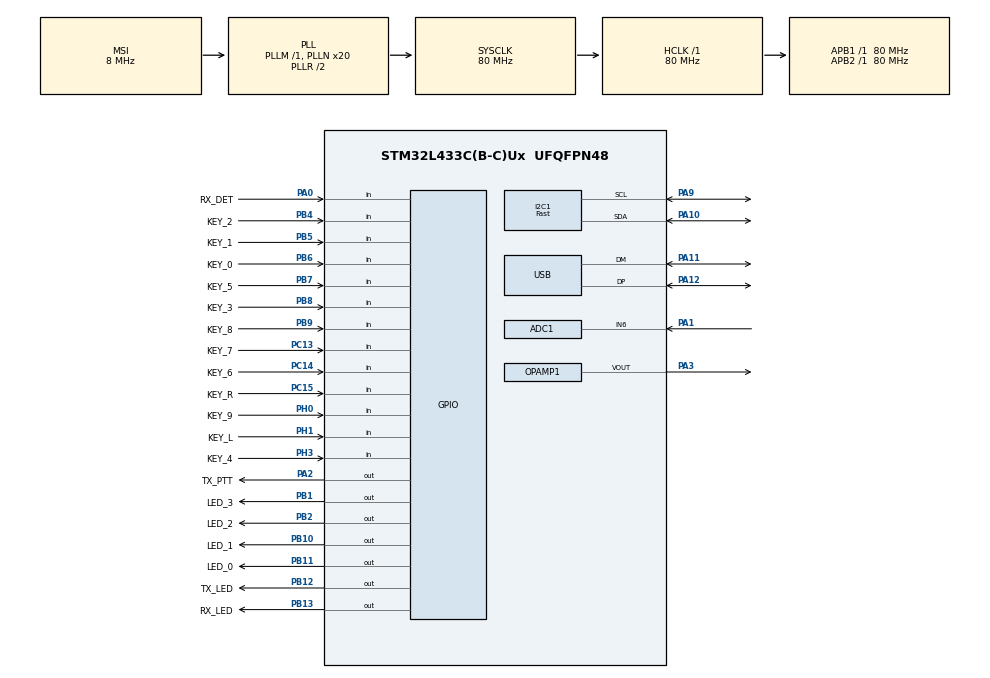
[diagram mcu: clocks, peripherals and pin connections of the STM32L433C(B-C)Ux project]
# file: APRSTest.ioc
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ADC1.Channel-0\#ChannelRegularConversion=ADC_CHANNEL_6
ADC1.ContinuousConvMode=DISABLE
ADC1.DMAContinuousRequests=ENABLE
ADC1.EOCSelection=ADC_EOC_SINGLE_CONV
ADC1.EnableAnalogWatchDog1=false
ADC1.ExternalTrigConv=ADC_EXTERNALTRIG_T2_TRGO
ADC1.NbrOfConversion=1
ADC1.NbrOfConversionFlag=1
ADC1.OffsetNumber-0\#ChannelRegularConversion=ADC_OFFSET_NONE
ADC1.Overrun=ADC_OVR_DATA_OVERWRITTEN
ADC1.Rank-0\#ChannelRegularConversion=1
ADC1.Resolution=ADC_RESOLUTION_8B
ADC1.SamplingTime-0\#ChannelRegularConversion=ADC_SAMPLETIME_2CYCLES_5
ADC1.master=1
DAC1.DAC_Trigger-DAC_OUT1_Int=DAC_TRIGGER_T6_TRGO
Dma.ADC1.1.Direction=DMA_PERIPH_TO_MEMORY
Dma.ADC1.1.Instance=DMA1_Channel1
Dma.ADC1.1.MemDataAlignment=DMA_MDATAALIGN_BYTE
Dma.ADC1.1.MemInc=DMA_MINC_ENABLE
Dma.ADC1.1.Mode=DMA_CIRCULAR
Dma.ADC1.1.PeriphDataAlignment=DMA_PDATAALIGN_BYTE
Dma.ADC1.1.PeriphInc=DMA_PINC_DISABLE
Dma.ADC1.1.Priority=DMA_PRIORITY_HIGH
Dma.DAC_CH1.0.Direction=DMA_MEMORY_TO_PERIPH
Dma.DAC_CH1.0.Instance=DMA1_Channel3
Dma.DAC_CH1.0.MemDataAlignment=DMA_MDATAALIGN_BYTE
Dma.DAC_CH1.0.MemInc=DMA_MINC_ENABLE
Dma.DAC_CH1.0.Mode=DMA_CIRCULAR
Dma.DAC_CH1.0.PeriphDataAlignment=DMA_PDATAALIGN_BYTE
Dma.DAC_CH1.0.PeriphInc=DMA_PINC_DISABLE
Dma.DAC_CH1.0.Priority=DMA_PRIORITY_VERY_HIGH
Dma.I2C1_TX.2.Direction=DMA_MEMORY_TO_PERIPH
Dma.I2C1_TX.2.Instance=DMA1_Channel6
Dma.I2C1_TX.2.MemDataAlignment=DMA_MDATAALIGN_BYTE
Dma.I2C1_TX.2.MemInc=DMA_MINC_ENABLE
Dma.I2C1_TX.2.Mode=DMA_NORMAL
Dma.I2C1_TX.2.PeriphDataAlignment=DMA_PDATAALIGN_BYTE
Dma.I2C1_TX.2.PeriphInc=DMA_PINC_DISABLE
Dma.I2C1_TX.2.Priority=DMA_PRIORITY_HIGH
Dma.Request0=DAC_CH1
Dma.Request1=ADC1
Dma.Request2=I2C1_TX
I2C1.I2C_Speed_Mode=I2C_Fast
I2C1.Timing=0x00702991
Mcu.Family=STM32L4
Mcu.Name=STM32L433C(B-C)Ux
Mcu.Package=UFQFPN48
NVIC.DMA1_Channel1_IRQn=true\:0\:0\:false\:false\:true\:false\:true
NVIC.DMA1_Channel3_IRQn=true\:0\:0\:false\:false\:true\:false\:true
NVIC.DMA1_Channel6_IRQn=true\:0\:0\:false\:false\:true\:false\:true
NVIC.I2C1_EV_IRQn=true\:0\:0\:false\:false\:true\:true\:true
NVIC.PriorityGroup=NVIC_PRIORITYGROUP_4
NVIC.TIM7_IRQn=true\:1\:0\:true\:false\:true\:true\:true
NVIC.USB_IRQn=true\:0\:0\:false\:false\:true\:false\:true
OPAMP1.PowerSupplyRange=OPAMP_POWERSUPPLY_HIGH
PA0.GPIO_Label=RX_DET
PA0.GPIO_PuPd=GPIO_PULLUP
PA0.Signal=GPIO_Input
PA1.Signal=ADCx_IN6
PA10.Mode=I2C
PA10.Signal=I2C1_SDA
PA11.Mode=Device
PA11.Signal=USB_DM
PA12.Mode=Device
PA12.Signal=USB_DP
PA13\ (JTMS-SWDIO).Mode=Trace_Asynchronous_SW
PA13\ (JTMS-SWDIO).Signal=SYS_JTMS-SWDIO
PA14\ (JTCK-SWCLK).Mode=Trace_Asynchronous_SW
PA14\ (JTCK-SWCLK).Signal=SYS_JTCK-SWCLK
PA2.GPIO_Label=TX_PTT
PA2.GPIO_Speed=GPIO_SPEED_FREQ_VERY_HIGH
PA2.Signal=GPIO_Output
PA3.Mode=Follower-DAC_OUT1-INP
PA3.Signal=OPAMP1_VOUT
PA9.Mode=I2C
PA9.Signal=I2C1_SCL
PB1.GPIO_Label=LED_3
PB1.GPIO_Speed=GPIO_SPEED_FREQ_VERY_HIGH
PB1.Signal=GPIO_Output
PB10.GPIO_Label=LED_1
PB10.GPIO_Speed=GPIO_SPEED_FREQ_VERY_HIGH
PB10.Signal=GPIO_Output
PB11.GPIO_Label=LED_0
PB11.GPIO_Speed=GPIO_SPEED_FREQ_VERY_HIGH
PB11.Signal=GPIO_Output
PB12.GPIO_Label=TX_LED
PB12.GPIO_Speed=GPIO_SPEED_FREQ_VERY_HIGH
PB12.Signal=GPIO_Output
PB13.GPIO_Label=RX_LED
PB13.GPIO_Speed=GPIO_SPEED_FREQ_VERY_HIGH
PB13.Signal=GPIO_Output
PB2.GPIO_Label=LED_2
PB2.GPIO_Speed=GPIO_SPEED_FREQ_VERY_HIGH
PB2.Signal=GPIO_Output
PB3\ (JTDO-TRACESWO).Mode=Trace_Asynchronous_SW
PB3\ (JTDO-TRACESWO).Signal=SYS_JTDO-SWO
PB4\ (NJTRST).GPIO_Label=KEY_2
PB4\ (NJTRST).GPIO_PuPd=GPIO_PULLDOWN
PB4\ (NJTRST).Signal=GPIO_Input
PB5.GPIO_Label=KEY_1
PB5.GPIO_PuPd=GPIO_PULLDOWN
PB5.Signal=GPIO_Input
PB6.GPIO_Label=KEY_0
PB6.GPIO_PuPd=GPIO_PULLDOWN
PB6.Signal=GPIO_Input
PB7.GPIO_Label=KEY_5
PB7.GPIO_PuPd=GPIO_PULLDOWN
PB7.Signal=GPIO_Input
PB8.GPIO_Label=KEY_3
PB8.GPIO_PuPd=GPIO_PULLDOWN
PB8.Signal=GPIO_Input
PB9.GPIO_Label=KEY_8
PB9.GPIO_PuPd=GPIO_PULLDOWN
PB9.Signal=GPIO_Input
PC13.GPIO_Label=KEY_7
PC13.GPIO_PuPd=GPIO_PULLDOWN
PC13.Signal=GPIO_Input
PC14-OSC32_IN\ (PC14).GPIO_Label=KEY_6
PC14-OSC32_IN\ (PC14).GPIO_PuPd=GPIO_PULLDOWN
PC14-OSC32_IN\ (PC14).Signal=GPIO_Input
PC15-OSC32_OUT\ (PC15).GPIO_Label=KEY_R
PC15-OSC32_OUT\ (PC15).GPIO_PuPd=GPIO_PULLDOWN
PC15-OSC32_OUT\ (PC15).Signal=GPIO_Input
PH0-OSC_IN\ (PH0).GPIO_Label=KEY_9
PH0-OSC_IN\ (PH0).GPIO_PuPd=GPIO_PULLDOWN
PH0-OSC_IN\ (PH0).Signal=GPIO_Input
PH1-OSC_OUT\ (PH1).GPIO_Label=KEY_L
PH1-OSC_OUT\ (PH1).GPIO_PuPd=GPIO_PULLDOWN
PH1-OSC_OUT\ (PH1).Signal=GPIO_Input
PH3-BOOT0.GPIO_Label=KEY_4
PH3-BOOT0.GPIO_PuPd=GPIO_PULLDOWN
PH3-BOOT0.Signal=GPIO_Input
ProjectManager.HeapSize=0x200
ProjectManager.StackSize=0x400
ProjectManager.TargetToolchain=STM32CubeIDE
RCC.ADCCLockSelection=RCC_ADCCLKSOURCE_SYSCLK
RCC.ADCFreq_Value=80000000
RCC.AHBFreq_Value=80000000
RCC.APB1Freq_Value=80000000
RCC.APB1TimFreq_Value=80000000
RCC.APB2Freq_Value=80000000
RCC.APB2TimFreq_Value=80000000
RCC.CK48CLockSelection=RCC_USBCLKSOURCE_HSI48
RCC.CortexFreq_Value=80000000
RCC.HCLKFreq_Value=80000000
RCC.HSE_VALUE=8000000
RCC.HSI48_VALUE=48000000
RCC.HSI_VALUE=16000000
RCC.LSE_VALUE=32768
RCC.MSIClockRange=RCC_MSIRANGE_7
RCC.MSI_VALUE=8000000
RCC.PLLN=20
RCC.SYSCLKFreq_VALUE=80000000
RCC.SYSCLKSource=RCC_SYSCLKSOURCE_PLLCLK
RCC.USBFreq_Value=48000000
RCC.VCOOutputFreq_Value=160000000
SH.ADCx_IN6.0=ADC1_IN6,IN6-Single-Ended
TIM2.Period=8332
TIM2.TIM_MasterOutputTrigger=TIM_TRGO_UPDATE
TIM6.Period=2082
TIM6.Prescaler=0
TIM6.TIM_MasterOutputTrigger=TIM_TRGO_UPDATE
TIM7.Period=99
TIM7.Prescaler=33332
USB_DEVICE.CLASS_NAME_FS=CDC
USB_DEVICE.VirtualMode=Cdc
USB_DEVICE.VirtualModeFS=Cdc_FS
VP_DAC1_VS_DACI1.Mode=DAC_OUT1_Int
VP_RNG_VS_RNG.Mode=RNG_Activate
VP_TIM2_VS_ClockSourceINT.Mode=Internal
VP_TIM6_VS_ClockSourceINT.Mode=Enable_Timer
VP_TIM7_VS_ClockSourceINT.Mode=Enable_Timer
VP_USB_DEVICE_VS_USB_DEVICE_CDC_FS.Mode=CDC_FS
board=custom

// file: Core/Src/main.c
/* USER CODE BEGIN Header */
/**
  ******************************************************************************
  * @file           : main.c
  * @brief          : Main program body
  ******************************************************************************
  * @attention
  *
  * <h2><center>&copy; Copyright (c) 2020 STMicroelectronics.
  * All rights reserved.</center></h2>
  *
  * This software component is licensed by ST under BSD 3-Clause license,
  * the "License"; You may not use this file except in compliance with the
  * License. You may obtain a copy of the License at:
  *                        opensource.org/licenses/BSD-3-Clause
  *
  ******************************************************************************
  */
/* USER CODE END Header */
#include "main.h"
#include "usb_device.h"

/* USER CODE BEGIN Includes */

#include "stdio.h"
#include "usbd_cdc_if.h"

#include "BitFIFO.h"
#include "AFSK.h"
#include "APRS.h"
#include "SSD1306.h"
#include "APRSGUI.h"
#include "Keyboard.h"

/* USER CODE END Includes */

ADC_HandleTypeDef hadc1;
DMA_HandleTypeDef hdma_adc1;

DAC_HandleTypeDef hdac1;
DMA_HandleTypeDef hdma_dac_ch1;

I2C_HandleTypeDef hi2c1;
DMA_HandleTypeDef hdma_i2c1_tx;

OPAMP_HandleTypeDef hopamp1;

RNG_HandleTypeDef hrng;

TIM_HandleTypeDef htim2;
TIM_HandleTypeDef htim6;
TIM_HandleTypeDef htim7;

void SystemClock_Config(void);
static void MX_GPIO_Init(void);
static void MX_DMA_Init(void);
static void MX_DAC1_Init(void);
static void MX_TIM6_Init(void);
static void MX_ADC1_Init(void);
static void MX_OPAMP1_Init(void);
static void MX_RNG_Init(void);
static void MX_TIM2_Init(void);
static void MX_TIM7_Init(void);
static void MX_I2C1_Init(void);

int main(void)
{

  /* MCU Configuration--------------------------------------------------------*/

  /* Reset of all peripherals, Initializes the Flash interface and the Systick. */
  HAL_Init();

  /* Configure the system clock */
  SystemClock_Config();

  /* Initialize all configured peripherals */
  MX_GPIO_Init();
  MX_DMA_Init();
  MX_DAC1_Init();
  MX_TIM6_Init();
  MX_ADC1_Init();
  MX_OPAMP1_Init();
  MX_RNG_Init();
  MX_TIM2_Init();
  MX_TIM7_Init();
  MX_I2C1_Init();
  MX_USB_DEVICE_Init();
  /* USER CODE BEGIN 2 */

  HAL_OPAMP_Start(&hopamp1);
  AFSK_init();
  APRS_init();

  SSD1306_init();
  APRSGUI_init(&APRS_DEFAULT_PACKET);
  HAL_TIM_Base_Start_IT(&htim7); // update display at ~24FPS

  /* USER CODE END 2 */

  /* Infinite loop */
  while (1)
  {

    /* USER CODE BEGIN 3 */
	if (APRS_decoded_packet_valid) { // print over usb
		APRS_print(&APRS_decoded_packet);
		APRS_decoded_packet_valid = 0;
	}

	HAL_GPIO_WritePin(TX_LED_GPIO_Port, TX_LED_Pin, AFSK_sending);
	HAL_GPIO_WritePin(RX_LED_GPIO_Port, RX_LED_Pin, !HAL_GPIO_ReadPin(RX_DET_GPIO_Port, RX_DET_Pin));

	HAL_GPIO_WritePin(LED_0_GPIO_Port, LED_0_Pin, Keyboard_page == 0);
	HAL_GPIO_WritePin(LED_1_GPIO_Port, LED_1_Pin, Keyboard_page == 1);
	HAL_GPIO_WritePin(LED_2_GPIO_Port, LED_2_Pin, Keyboard_page == 2);
	HAL_GPIO_WritePin(LED_3_GPIO_Port, LED_3_Pin, Keyboard_page == 3);

	Keyboard_update();

	HAL_Delay(20);
  }
  /* USER CODE END 3 */
}

void SystemClock_Config(void)
{
  RCC_OscInitTypeDef RCC_OscInitStruct = {0};
  RCC_ClkInitTypeDef RCC_ClkInitStruct = {0};
  RCC_PeriphCLKInitTypeDef PeriphClkInit = {0};

  /** Initializes the RCC Oscillators according to the specified parameters
  * in the RCC_OscInitTypeDef structure.
  */
  RCC_OscInitStruct.OscillatorType = RCC_OSCILLATORTYPE_HSI48|RCC_OSCILLATORTYPE_MSI;
  RCC_OscInitStruct.HSI48State = RCC_HSI48_ON;
  RCC_OscInitStruct.MSIState = RCC_MSI_ON;
  RCC_OscInitStruct.MSICalibrationValue = 0;
  RCC_OscInitStruct.MSIClockRange = RCC_MSIRANGE_7;
  RCC_OscInitStruct.PLL.PLLState = RCC_PLL_ON;
  RCC_OscInitStruct.PLL.PLLSource = RCC_PLLSOURCE_MSI;
  RCC_OscInitStruct.PLL.PLLM = 1;
  RCC_OscInitStruct.PLL.PLLN = 20;
  RCC_OscInitStruct.PLL.PLLP = RCC_PLLP_DIV7;
  RCC_OscInitStruct.PLL.PLLQ = RCC_PLLQ_DIV2;
  RCC_OscInitStruct.PLL.PLLR = RCC_PLLR_DIV2;
  if (HAL_RCC_OscConfig(&RCC_OscInitStruct) != HAL_OK)
  {
    Error_Handler();
  }
  /** Initializes the CPU, AHB and APB buses clocks
  */
  RCC_ClkInitStruct.ClockType = RCC_CLOCKTYPE_HCLK|RCC_CLOCKTYPE_SYSCLK
                              |RCC_CLOCKTYPE_PCLK1|RCC_CLOCKTYPE_PCLK2;
  RCC_ClkInitStruct.SYSCLKSource = RCC_SYSCLKSOURCE_PLLCLK;
  RCC_ClkInitStruct.AHBCLKDivider = RCC_SYSCLK_DIV1;
  RCC_ClkInitStruct.APB1CLKDivider = RCC_HCLK_DIV1;
  RCC_ClkInitStruct.APB2CLKDivider = RCC_HCLK_DIV1;

  if (HAL_RCC_ClockConfig(&RCC_ClkInitStruct, FLASH_LATENCY_4) != HAL_OK)
  {
    Error_Handler();
  }
  PeriphClkInit.PeriphClockSelection = RCC_PERIPHCLK_I2C1|RCC_PERIPHCLK_USB
                              |RCC_PERIPHCLK_RNG|RCC_PERIPHCLK_ADC;
  PeriphClkInit.I2c1ClockSelection = RCC_I2C1CLKSOURCE_PCLK1;
  PeriphClkInit.AdcClockSelection = RCC_ADCCLKSOURCE_SYSCLK;
  PeriphClkInit.UsbClockSelection = RCC_USBCLKSOURCE_HSI48;
  PeriphClkInit.RngClockSelection = RCC_RNGCLKSOURCE_HSI48;
  if (HAL_RCCEx_PeriphCLKConfig(&PeriphClkInit) != HAL_OK)
  {
    Error_Handler();
  }
  /** Configure the main internal regulator output voltage
  */
  if (HAL_PWREx_ControlVoltageScaling(PWR_REGULATOR_VOLTAGE_SCALE1) != HAL_OK)
  {
    Error_Handler();
  }
}

static void MX_ADC1_Init(void)
{

  ADC_ChannelConfTypeDef sConfig = {0};

  /** Common config
  */
  hadc1.Instance = ADC1;
  hadc1.Init.ClockPrescaler = ADC_CLOCK_ASYNC_DIV1;
  hadc1.Init.Resolution = ADC_RESOLUTION_8B;
  hadc1.Init.DataAlign = ADC_DATAALIGN_RIGHT;
  hadc1.Init.ScanConvMode = ADC_SCAN_DISABLE;
  hadc1.Init.EOCSelection = ADC_EOC_SINGLE_CONV;
  hadc1.Init.LowPowerAutoWait = DISABLE;
  hadc1.Init.ContinuousConvMode = DISABLE;
  hadc1.Init.NbrOfConversion = 1;
  hadc1.Init.DiscontinuousConvMode = DISABLE;
  hadc1.Init.ExternalTrigConv = ADC_EXTERNALTRIG_T2_TRGO;
  hadc1.Init.ExternalTrigConvEdge = ADC_EXTERNALTRIGCONVEDGE_RISING;
  hadc1.Init.DMAContinuousRequests = ENABLE;
  hadc1.Init.Overrun = ADC_OVR_DATA_OVERWRITTEN;
  hadc1.Init.OversamplingMode = DISABLE;
  if (HAL_ADC_Init(&hadc1) != HAL_OK)
  {
    Error_Handler();
  }
  /** Configure Regular Channel
  */
  sConfig.Channel = ADC_CHANNEL_6;
  sConfig.Rank = ADC_REGULAR_RANK_1;
  sConfig.SamplingTime = ADC_SAMPLETIME_2CYCLES_5;
  sConfig.SingleDiff = ADC_SINGLE_ENDED;
  sConfig.OffsetNumber = ADC_OFFSET_NONE;
  sConfig.Offset = 0;
  if (HAL_ADC_ConfigChannel(&hadc1, &sConfig) != HAL_OK)
  {
    Error_Handler();
  }

}

static void MX_DAC1_Init(void)
{

  DAC_ChannelConfTypeDef sConfig = {0};

  /** DAC Initialization
  */
  hdac1.Instance = DAC1;
  if (HAL_DAC_Init(&hdac1) != HAL_OK)
  {
    Error_Handler();
  }
  /** DAC channel OUT1 config
  */
  sConfig.DAC_SampleAndHold = DAC_SAMPLEANDHOLD_DISABLE;
  sConfig.DAC_Trigger = DAC_TRIGGER_T6_TRGO;
  sConfig.DAC_OutputBuffer = DAC_OUTPUTBUFFER_DISABLE;
  sConfig.DAC_ConnectOnChipPeripheral = DAC_CHIPCONNECT_ENABLE;
  sConfig.DAC_UserTrimming = DAC_TRIMMING_FACTORY;
  if (HAL_DAC_ConfigChannel(&hdac1, &sConfig, DAC_CHANNEL_1) != HAL_OK)
  {
    Error_Handler();
  }

}

static void MX_I2C1_Init(void)
{

  hi2c1.Instance = I2C1;
  hi2c1.Init.Timing = 0x00702991;
  hi2c1.Init.OwnAddress1 = 0;
  hi2c1.Init.AddressingMode = I2C_ADDRESSINGMODE_7BIT;
  hi2c1.Init.DualAddressMode = I2C_DUALADDRESS_DISABLE;
  hi2c1.Init.OwnAddress2 = 0;
  hi2c1.Init.OwnAddress2Masks = I2C_OA2_NOMASK;
  hi2c1.Init.GeneralCallMode = I2C_GENERALCALL_DISABLE;
  hi2c1.Init.NoStretchMode = I2C_NOSTRETCH_DISABLE;
  if (HAL_I2C_Init(&hi2c1) != HAL_OK)
  {
    Error_Handler();
  }
  /** Configure Analogue filter
  */
  if (HAL_I2CEx_ConfigAnalogFilter(&hi2c1, I2C_ANALOGFILTER_ENABLE) != HAL_OK)
  {
    Error_Handler();
  }
  /** Configure Digital filter
  */
  if (HAL_I2CEx_ConfigDigitalFilter(&hi2c1, 0) != HAL_OK)
  {
    Error_Handler();
  }

}

static void MX_OPAMP1_Init(void)
{

  hopamp1.Instance = OPAMP1;
  hopamp1.Init.PowerSupplyRange = OPAMP_POWERSUPPLY_HIGH;
  hopamp1.Init.Mode = OPAMP_FOLLOWER_MODE;
  hopamp1.Init.NonInvertingInput = OPAMP_NONINVERTINGINPUT_DAC_CH;
  hopamp1.Init.PowerMode = OPAMP_POWERMODE_NORMAL;
  hopamp1.Init.UserTrimming = OPAMP_TRIMMING_FACTORY;
  if (HAL_OPAMP_Init(&hopamp1) != HAL_OK)
  {
    Error_Handler();
  }

}

static void MX_RNG_Init(void)
{

  hrng.Instance = RNG;
  if (HAL_RNG_Init(&hrng) != HAL_OK)
  {
    Error_Handler();
  }

}

static void MX_TIM2_Init(void)
{

  TIM_ClockConfigTypeDef sClockSourceConfig = {0};
  TIM_MasterConfigTypeDef sMasterConfig = {0};

  htim2.Instance = TIM2;
  htim2.Init.Prescaler = 0;
  htim2.Init.CounterMode = TIM_COUNTERMODE_UP;
  htim2.Init.Period = 8332;
  htim2.Init.ClockDivision = TIM_CLOCKDIVISION_DIV1;
  htim2.Init.AutoReloadPreload = TIM_AUTORELOAD_PRELOAD_DISABLE;
  if (HAL_TIM_Base_Init(&htim2) != HAL_OK)
  {
    Error_Handler();
  }
  sClockSourceConfig.ClockSource = TIM_CLOCKSOURCE_INTERNAL;
  if (HAL_TIM_ConfigClockSource(&htim2, &sClockSourceConfig) != HAL_OK)
  {
    Error_Handler();
  }
  sMasterConfig.MasterOutputTrigger = TIM_TRGO_UPDATE;
  sMasterConfig.MasterSlaveMode = TIM_MASTERSLAVEMODE_DISABLE;
  if (HAL_TIMEx_MasterConfigSynchronization(&htim2, &sMasterConfig) != HAL_OK)
  {
    Error_Handler();
  }

}

static void MX_TIM6_Init(void)
{

  TIM_MasterConfigTypeDef sMasterConfig = {0};

  htim6.Instance = TIM6;
  htim6.Init.Prescaler = 0;
  htim6.Init.CounterMode = TIM_COUNTERMODE_UP;
  htim6.Init.Period = 2082;
  htim6.Init.AutoReloadPreload = TIM_AUTORELOAD_PRELOAD_DISABLE;
  if (HAL_TIM_Base_Init(&htim6) != HAL_OK)
  {
    Error_Handler();
  }
  sMasterConfig.MasterOutputTrigger = TIM_TRGO_UPDATE;
  sMasterConfig.MasterSlaveMode = TIM_MASTERSLAVEMODE_DISABLE;
  if (HAL_TIMEx_MasterConfigSynchronization(&htim6, &sMasterConfig) != HAL_OK)
  {
    Error_Handler();
  }

}

static void MX_TIM7_Init(void)
{

  TIM_MasterConfigTypeDef sMasterConfig = {0};

  htim7.Instance = TIM7;
  htim7.Init.Prescaler = 33332;
  htim7.Init.CounterMode = TIM_COUNTERMODE_UP;
  htim7.Init.Period = 99;
  htim7.Init.AutoReloadPreload = TIM_AUTORELOAD_PRELOAD_DISABLE;
  if (HAL_TIM_Base_Init(&htim7) != HAL_OK)
  {
    Error_Handler();
  }
  sMasterConfig.MasterOutputTrigger = TIM_TRGO_RESET;
  sMasterConfig.MasterSlaveMode = TIM_MASTERSLAVEMODE_DISABLE;
  if (HAL_TIMEx_MasterConfigSynchronization(&htim7, &sMasterConfig) != HAL_OK)
  {
    Error_Handler();
  }

}

static void MX_DMA_Init(void)
{

  /* DMA controller clock enable */
  __HAL_RCC_DMA1_CLK_ENABLE();

  /* DMA interrupt init */
  /* DMA1_Channel1_IRQn interrupt configuration */
  HAL_NVIC_SetPriority(DMA1_Channel1_IRQn, 0, 0);
  HAL_NVIC_EnableIRQ(DMA1_Channel1_IRQn);
  /* DMA1_Channel3_IRQn interrupt configuration */
  HAL_NVIC_SetPriority(DMA1_Channel3_IRQn, 0, 0);
  HAL_NVIC_EnableIRQ(DMA1_Channel3_IRQn);
  /* DMA1_Channel6_IRQn interrupt configuration */
  HAL_NVIC_SetPriority(DMA1_Channel6_IRQn, 0, 0);
  HAL_NVIC_EnableIRQ(DMA1_Channel6_IRQn);

}

static void MX_GPIO_Init(void)
{
  GPIO_InitTypeDef GPIO_InitStruct = {0};

  /* GPIO Ports Clock Enable */
  __HAL_RCC_GPIOC_CLK_ENABLE();
  __HAL_RCC_GPIOH_CLK_ENABLE();
  __HAL_RCC_GPIOA_CLK_ENABLE();
  __HAL_RCC_GPIOB_CLK_ENABLE();

  /*Configure GPIO pin Output Level */
  HAL_GPIO_WritePin(TX_PTT_GPIO_Port, TX_PTT_Pin, GPIO_PIN_RESET);

  /*Configure GPIO pin Output Level */
  HAL_GPIO_WritePin(GPIOB, LED_3_Pin|LED_2_Pin|LED_1_Pin|LED_0_Pin
                          |TX_LED_Pin|RX_LED_Pin, GPIO_PIN_RESET);

  /*Configure GPIO pins : KEY_7_Pin KEY_6_Pin KEY_R_Pin */
  GPIO_InitStruct.Pin = KEY_7_Pin|KEY_6_Pin|KEY_R_Pin;
  GPIO_InitStruct.Mode = GPIO_MODE_INPUT;
  GPIO_InitStruct.Pull = GPIO_PULLDOWN;
  HAL_GPIO_Init(GPIOC, &GPIO_InitStruct);

  /*Configure GPIO pins : KEY_9_Pin KEY_L_Pin KEY_4_Pin */
  GPIO_InitStruct.Pin = KEY_9_Pin|KEY_L_Pin|KEY_4_Pin;
  GPIO_InitStruct.Mode = GPIO_MODE_INPUT;
  GPIO_InitStruct.Pull = GPIO_PULLDOWN;
  HAL_GPIO_Init(GPIOH, &GPIO_InitStruct);

  /*Configure GPIO pin : RX_DET_Pin */
  GPIO_InitStruct.Pin = RX_DET_Pin;
  GPIO_InitStruct.Mode = GPIO_MODE_INPUT;
  GPIO_InitStruct.Pull = GPIO_PULLUP;
  HAL_GPIO_Init(RX_DET_GPIO_Port, &GPIO_InitStruct);

  /*Configure GPIO pin : TX_PTT_Pin */
  GPIO_InitStruct.Pin = TX_PTT_Pin;
  GPIO_InitStruct.Mode = GPIO_MODE_OUTPUT_PP;
  GPIO_InitStruct.Pull = GPIO_NOPULL;
  GPIO_InitStruct.Speed = GPIO_SPEED_FREQ_VERY_HIGH;
  HAL_GPIO_Init(TX_PTT_GPIO_Port, &GPIO_InitStruct);

  /*Configure GPIO pins : LED_3_Pin LED_2_Pin LED_1_Pin LED_0_Pin
                           TX_LED_Pin RX_LED_Pin */
  GPIO_InitStruct.Pin = LED_3_Pin|LED_2_Pin|LED_1_Pin|LED_0_Pin
                          |TX_LED_Pin|RX_LED_Pin;
  GPIO_InitStruct.Mode = GPIO_MODE_OUTPUT_PP;
  GPIO_InitStruct.Pull = GPIO_NOPULL;
  GPIO_InitStruct.Speed = GPIO_SPEED_FREQ_VERY_HIGH;
  HAL_GPIO_Init(GPIOB, &GPIO_InitStruct);

  /*Configure GPIO pins : KEY_2_Pin KEY_1_Pin KEY_0_Pin KEY_5_Pin
                           KEY_3_Pin KEY_8_Pin */
  GPIO_InitStruct.Pin = KEY_2_Pin|KEY_1_Pin|KEY_0_Pin|KEY_5_Pin
                          |KEY_3_Pin|KEY_8_Pin;
  GPIO_InitStruct.Mode = GPIO_MODE_INPUT;
  GPIO_InitStruct.Pull = GPIO_PULLDOWN;
  HAL_GPIO_Init(GPIOB, &GPIO_InitStruct);

}

/* USER CODE BEGIN 4 */

int _write(int file, char *ptr, int len) {
//	HAL_UART_Transmit(&huart1, (uint8_t *) ptr, len, HAL_MAX_DELAY);
	CDC_Transmit_FS((uint8_t *) ptr, len);
	return len;
}

/* USER CODE END 4 */

void Error_Handler(void)
{
  /* USER CODE BEGIN Error_Handler_Debug */
  /* User can add his own implementation to report the HAL error return state */
	while (1) {
		HAL_GPIO_TogglePin(TX_LED_GPIO_Port, TX_LED_Pin);
		HAL_Delay(50);
	}
  /* USER CODE END Error_Handler_Debug */
}

/************************ (C) COPYRIGHT STMicroelectronics *****END OF FILE****/
